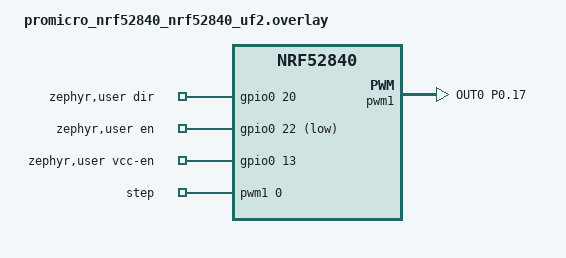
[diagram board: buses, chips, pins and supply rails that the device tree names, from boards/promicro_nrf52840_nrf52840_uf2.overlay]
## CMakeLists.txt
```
cmake_minimum_required(VERSION 3.20.0)

find_package(Zephyr REQUIRED HINTS $ENV{ZEPHYR_BASE})
project(holo_rotor)

target_sources(app PRIVATE
  src/main.c
  src/stepper.c
  src/shell_cmds.c
)
```

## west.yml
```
# West manifest: pulls a pinned Zephyr plus only the modules this app needs.
manifest:
  remotes:
    - name: zephyrproject-rtos
      url-base: https://github.com/zephyrproject-rtos
  projects:
    - name: zephyr
      remote: zephyrproject-rtos
      revision: v4.5.0
      import:
        name-allowlist:
          - cmsis_6
          - hal_nordic
  self:
    path: holo-rotor
```

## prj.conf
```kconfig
# Hardware
CONFIG_GPIO=y
CONFIG_PWM=y

# Floating point for the ramp math (nRF52840 has an FPU)
CONFIG_FPU=y

# Interactive shell over the USB serial port (COMx on Windows, /dev/ttyACM0 on Linux)
CONFIG_SHELL=y
CONFIG_SHELL_PROMPT_UART="rotor:~$ "
CONFIG_SHELL_BACKEND_SERIAL_CHECK_DTR=y

# Board-level USB CDC ACM descriptors
CONFIG_CDC_ACM_SERIAL_MANUFACTURER_STRING="holoedu"
CONFIG_CDC_ACM_SERIAL_PRODUCT_STRING="holo-rotor"

CONFIG_LOG=y
CONFIG_MAIN_STACK_SIZE=2048

# printf %f support for the shell status output
CONFIG_CBPRINTF_FP_SUPPORT=y
```

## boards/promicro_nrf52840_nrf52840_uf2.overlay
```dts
/*
 * holo-rotor pin map for an nRF52840 Pro Micro (nice!nano v2 / clones).
 * Pins are named the way they are silkscreened on most clones (P0.17 -> "017").
 *
 *   TMC2209     Pro Micro
 *   STEP   <--  P0.17   (hardware PWM1, jitter-free step pulses)
 *   DIR    <--  P0.20
 *   EN     <--  P0.22   (TMC2209 EN is active-low: low = driver on)
 *   VIO    <--  VCC     (3.3 V, switched by P0.13 on nice!nano-style boards)
 *   GND    ---  GND
 *   MS1/MS2     tie to GND/VCC to pick microsteps (see README)
 *
 * Reserved for a later TMC2209 UART link (PDN_UART): P0.06 (TX), P0.08 (RX).
 */

&pinctrl {
	pwm1_default: pwm1_default {
		group1 {
			psels = <NRF_PSEL(PWM_OUT0, 0, 17)>;
		};
	};

	pwm1_sleep: pwm1_sleep {
		group1 {
			psels = <NRF_PSEL(PWM_OUT0, 0, 17)>;
			low-power-enable;
		};
	};
};

&pwm1 {
	status = "okay";
	pinctrl-0 = <&pwm1_default>;
	pinctrl-1 = <&pwm1_sleep>;
	pinctrl-names = "default", "sleep";
};

/ {
	zephyr,user {
		pwms = <&pwm1 0 PWM_USEC(1000) PWM_POLARITY_NORMAL>;
		pwm-names = "step";
		dir-gpios = <&gpio0 20 GPIO_ACTIVE_HIGH>;
		en-gpios = <&gpio0 22 GPIO_ACTIVE_LOW>;
		/* Turns on the switched VCC pin on nice!nano-style boards (harmless elsewhere). */
		vcc-en-gpios = <&gpio0 13 GPIO_ACTIVE_HIGH>;
	};
};
```

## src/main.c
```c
#include <zephyr/kernel.h>
#include <zephyr/logging/log.h>

#include "stepper.h"

LOG_MODULE_REGISTER(main, LOG_LEVEL_INF);

int main(void)
{
	int err = rotor_init();

	if (err) {
		LOG_ERR("rotor init failed: %d", err);
		return err;
	}

	LOG_INF("holo-rotor ready. Type 'rotor help' in this terminal.");
	return 0;
}
```

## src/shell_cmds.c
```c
#include <stdlib.h>
#include <zephyr/shell/shell.h>

#include "stepper.h"

static int cmd_rpm(const struct shell *sh, size_t argc, char **argv)
{
	float rpm = strtof(argv[1], NULL);
	int err = rotor_set_rpm(rpm);

	if (err) {
		shell_error(sh, "rpm out of range");
		return err;
	}
	rotor_enable(true);
	shell_print(sh, "target %.1f rpm", (double)rpm);
	return 0;
}

static int cmd_stop(const struct shell *sh, size_t argc, char **argv)
{
	rotor_set_rpm(0.0f);
	rotor_enable(false);
	shell_print(sh, "ramping down");
	return 0;
}

static int cmd_estop(const struct shell *sh, size_t argc, char **argv)
{
	rotor_estop();
	shell_warn(sh, "driver disabled immediately; rotor is coasting");
	return 0;
}

static int cmd_accel(const struct shell *sh, size_t argc, char **argv)
{
	float a = strtof(argv[1], NULL);

	if (a <= 0.0f || a > 5000.0f) {
		shell_error(sh, "accel must be in (0, 5000] rpm/s");
		return -EINVAL;
	}
	rotor_set_accel(a);
	shell_print(sh, "accel %.1f rpm/s", (double)a);
	return 0;
}

static int cmd_ustep(const struct shell *sh, size_t argc, char **argv)
{
	int err = rotor_set_microsteps(atoi(argv[1]));

	if (err == -EBUSY) {
		shell_error(sh, "stop the motor first");
	} else if (err) {
		shell_error(sh, "use 1,2,4,...,256 and match the MS1/MS2 wiring");
	}
	return err;
}

static int cmd_status(const struct shell *sh, size_t argc, char **argv)
{
	struct rotor_status st;

	rotor_get_status(&st);
	shell_print(sh, "enabled:    %s", st.enabled ? "yes" : "no");
	shell_print(sh, "target:     %.1f rpm", (double)st.target_rpm);
	shell_print(sh, "current:    %.1f rpm", (double)st.current_rpm);
	shell_print(sh, "step rate:  %.0f Hz", (double)st.step_hz);
	shell_print(sh, "accel:      %.1f rpm/s", (double)st.accel_rpm_s);
	shell_print(sh, "microsteps: %d", st.microsteps);
	return 0;
}

SHELL_STATIC_SUBCMD_SET_CREATE(rotor_cmds,
	SHELL_CMD_ARG(rpm, NULL, "Spin at <rpm> (negative = reverse), ramped", cmd_rpm, 2, 0),
	SHELL_CMD(stop, NULL, "Ramp down to 0 and release the driver", cmd_stop),
	SHELL_CMD(estop, NULL, "Cut the driver immediately (rotor coasts)", cmd_estop),
	SHELL_CMD_ARG(accel, NULL, "Set ramp rate in rpm/s", cmd_accel, 2, 0),
	SHELL_CMD_ARG(ustep, NULL, "Set microsteps to match MS1/MS2 wiring", cmd_ustep, 2, 0),
	SHELL_CMD(status, NULL, "Show speed and settings", cmd_status),
	SHELL_SUBCMD_SET_END);

SHELL_CMD_REGISTER(rotor, &rotor_cmds, "Rotor (NEMA 17 + TMC2209) control", NULL);
```

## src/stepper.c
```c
/*
 * STEP/DIR driver for a TMC2209 in standalone mode.
 *
 * Step pulses come from the nRF52840 PWM peripheral, so their timing is set by
 * the crystal and is not disturbed by USB, the shell or anything else running on
 * the CPU. A low-priority thread only adjusts the PWM period every few ms to
 * follow a linear speed ramp.
 */

#include <math.h>
#include <zephyr/kernel.h>
#include <zephyr/device.h>
#include <zephyr/drivers/gpio.h>
#include <zephyr/drivers/pwm.h>
#include <zephyr/logging/log.h>

#include "stepper.h"

LOG_MODULE_REGISTER(rotor, LOG_LEVEL_INF);

#define USER_NODE DT_PATH(zephyr_user)

static const struct pwm_dt_spec step = PWM_DT_SPEC_GET_BY_NAME(USER_NODE, step);
static const struct gpio_dt_spec dir = GPIO_DT_SPEC_GET(USER_NODE, dir_gpios);
static const struct gpio_dt_spec en = GPIO_DT_SPEC_GET(USER_NODE, en_gpios);
static const struct gpio_dt_spec vcc_en = GPIO_DT_SPEC_GET_OR(USER_NODE, vcc_en_gpios, {0});

#define RAMP_PERIOD_MS 2
#define MAX_RPM 1500.0f
/* Below this step rate the output is switched off instead of pulsing very slowly. */
#define MIN_STEP_HZ 20.0f

static K_MUTEX_DEFINE(lock);
static float target_rpm;
static float current_rpm;
static float accel_rpm_s = 100.0f; /* 0 -> 1000 rpm in 10 s: gentle on a spinning phone */
static int microsteps = 8;         /* TMC2209 standalone default with MS1 = MS2 = GND */
static bool enabled;
static uint32_t last_period_ns;
static int last_dir = -1;

static float rpm_to_step_hz(float rpm)
{
	return fabsf(rpm) / 60.0f * ROTOR_FULLSTEPS_PER_REV * microsteps;
}

static void apply_output(float rpm)
{
	float hz = rpm_to_step_hz(rpm);

	if (hz < MIN_STEP_HZ) {
		if (last_period_ns != 0) {
			pwm_set_pulse_dt(&step, 0);
			last_period_ns = 0;
		}
		return;
	}

	int d = rpm >= 0.0f ? 1 : 0;

	if (d != last_dir) {
		/* Only reached near zero speed, since the ramp passes through 0 to reverse. */
		gpio_pin_set_dt(&dir, d);
		last_dir = d;
		k_busy_wait(1); /* DIR setup time before the next STEP edge (datasheet: 20 ns) */
	}

	uint32_t period_ns = (uint32_t)(1e9f / hz);

	if (period_ns != last_period_ns) {
		int err = pwm_set_dt(&step, period_ns, period_ns / 2);

		if (err) {
			LOG_ERR("pwm_set failed (%d) for period %u ns", err, period_ns);
		}
		last_period_ns = period_ns;
	}
}

static void ramp_thread(void *a, void *b, void *c)
{
	const float dt = RAMP_PERIOD_MS / 1000.0f;

	while (true) {
		k_mutex_lock(&lock, K_FOREVER);

		float goal = enabled ? target_rpm : 0.0f;
		float max_delta = accel_rpm_s * dt;
		float diff = goal - current_rpm;

		if (fabsf(diff) <= max_delta) {
			current_rpm = goal;
		} else {
			current_rpm += diff > 0 ? max_delta : -max_delta;
		}

		/* Jump over the dead band near zero so starts are not sluggish. */
		float min_rpm = MIN_STEP_HZ * 60.0f / (ROTOR_FULLSTEPS_PER_REV * microsteps);

		if (goal != 0.0f && fabsf(current_rpm) < min_rpm &&
		    (goal > 0) == (current_rpm >= 0)) {
			current_rpm = goal > 0 ? min_rpm : -min_rpm;
		}

		apply_output(current_rpm);

		if (!enabled && current_rpm == 0.0f) {
			gpio_pin_set_dt(&en, 0); /* finished ramping down: release the coils */
		}
		k_mutex_unlock(&lock);

		k_msleep(RAMP_PERIOD_MS);
	}
}

K_THREAD_DEFINE(ramp_tid, 1024, ramp_thread, NULL, NULL, NULL, 5, K_FP_REGS, 0);

int rotor_init(void)
{
	if (!pwm_is_ready_dt(&step) || !gpio_is_ready_dt(&dir) || !gpio_is_ready_dt(&en)) {
		LOG_ERR("rotor hardware not ready");
		return -ENODEV;
	}

	if (vcc_en.port && gpio_is_ready_dt(&vcc_en)) {
		gpio_pin_configure_dt(&vcc_en, GPIO_OUTPUT_ACTIVE);
	}

	gpio_pin_configure_dt(&dir, GPIO_OUTPUT_INACTIVE);
	gpio_pin_configure_dt(&en, GPIO_OUTPUT_INACTIVE); /* driver off at boot */
	pwm_set_pulse_dt(&step, 0);

	return 0;
}

int rotor_set_rpm(float rpm)
{
	if (fabsf(rpm) > MAX_RPM) {
		return -EINVAL;
	}
	k_mutex_lock(&lock, K_FOREVER);
	target_rpm = rpm;
	k_mutex_unlock(&lock);
	return 0;
}

void rotor_set_accel(float rpm_per_s)
{
	k_mutex_lock(&lock, K_FOREVER);
	accel_rpm_s = rpm_per_s;
	k_mutex_unlock(&lock);
}

int rotor_set_microsteps(int usteps)
{
	switch (usteps) {
	case 1: case 2: case 4: case 8: case 16: case 32: case 64: case 128: case 256:
		break;
	default:
		return -EINVAL;
	}

	k_mutex_lock(&lock, K_FOREVER);
	if (current_rpm != 0.0f) {
		k_mutex_unlock(&lock);
		return -EBUSY;
	}
	microsteps = usteps;
	k_mutex_unlock(&lock);
	return 0;
}

void rotor_enable(bool on)
{
	k_mutex_lock(&lock, K_FOREVER);
	if (on) {
		gpio_pin_set_dt(&en, 1);
		enabled = true;
	} else {
		/* Ramp down first; the ramp thread drops EN once stopped (see rotor_estop for instant). */
		enabled = false;
	}
	k_mutex_unlock(&lock);
}

void rotor_estop(void)
{
	k_mutex_lock(&lock, K_FOREVER);
	enabled = false;
	target_rpm = 0.0f;
	current_rpm = 0.0f;
	pwm_set_pulse_dt(&step, 0);
	last_period_ns = 0;
	gpio_pin_set_dt(&en, 0); /* motor coils off: the cylinder will coast */
	k_mutex_unlock(&lock);
}

void rotor_get_status(struct rotor_status *st)
{
	k_mutex_lock(&lock, K_FOREVER);
	st->target_rpm = target_rpm;
	st->current_rpm = current_rpm;
	st->step_hz = last_period_ns ? 1e9f / last_period_ns : 0.0f;
	st->accel_rpm_s = accel_rpm_s;
	st->microsteps = microsteps;
	st->enabled = enabled;
	k_mutex_unlock(&lock);
}
```

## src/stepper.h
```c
#pragma once

#include <stdbool.h>

/* Full steps per motor revolution (1.8 degree motor such as the 17HS4401). */
#define ROTOR_FULLSTEPS_PER_REV 200

int rotor_init(void);

/* Signed target speed in rpm; the ramp thread accelerates/decelerates toward it. */
int rotor_set_rpm(float rpm);
void rotor_set_accel(float rpm_per_s);
int rotor_set_microsteps(int usteps);

void rotor_enable(bool on);
void rotor_estop(void);

struct rotor_status {
	float target_rpm;
	float current_rpm;
	float step_hz;
	float accel_rpm_s;
	int microsteps;
	bool enabled;
};

void rotor_get_status(struct rotor_status *st);
```
